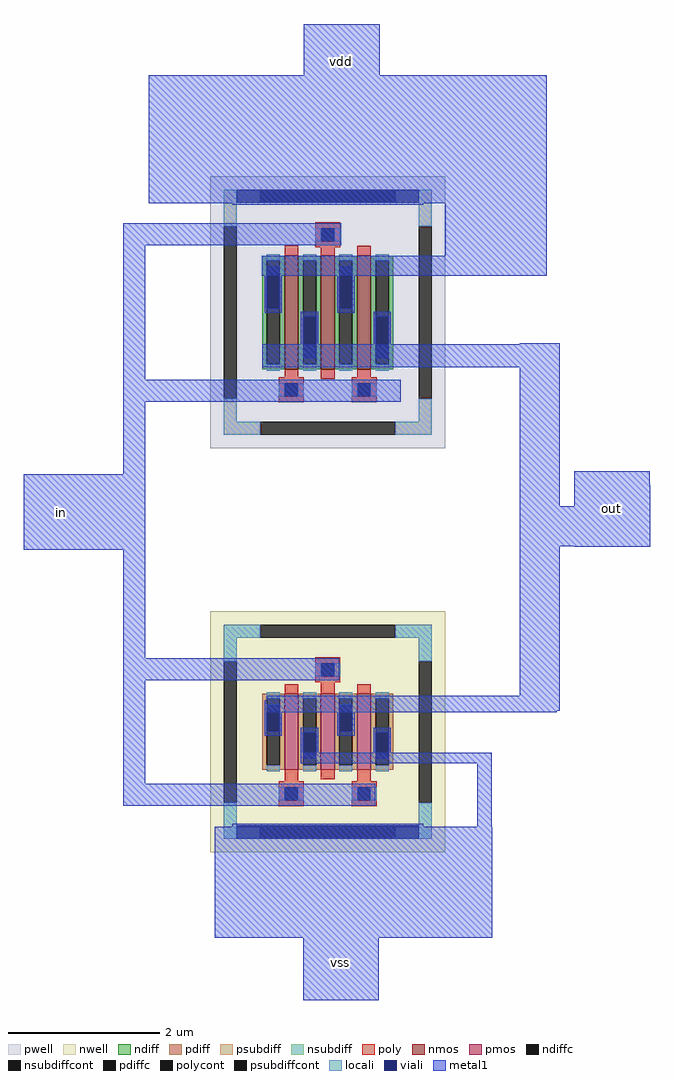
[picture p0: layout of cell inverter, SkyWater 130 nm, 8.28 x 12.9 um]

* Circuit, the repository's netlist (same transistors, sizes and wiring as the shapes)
**.subckt inverter in vdd vss out
*.ipin in
*.iopin vdd
*.iopin vss
*.opin out
XM1 out in vdd vdd sky130_fd_pr__pfet_01v8 L=0.18 W=3 nf=3 ad='int((nf+1)/2) * W/nf * 0.29' as='int((nf+2)/2) * W/nf * 0.29'
+ pd='2*int((nf+1)/2) * (W/nf + 0.29)' ps='2*int((nf+2)/2) * (W/nf + 0.29)' nrd='0.29 / W' nrs='0.29 / W'
+ sa=0 sb=0 sd=0 mult=1 m=1 
XM2 out in vss vss sky130_fd_pr__nfet_01v8 L=0.18 W=4.5 nf=3 ad='int((nf+1)/2) * W/nf * 0.29' as='int((nf+2)/2) * W/nf * 0.29'
+ pd='2*int((nf+1)/2) * (W/nf + 0.29)' ps='2*int((nf+2)/2) * (W/nf + 0.29)' nrd='0.29 / W' nrs='0.29 / W'
+ sa=0 sb=0 sd=0 mult=1 m=1 
**.ends
** flattened .save nodes
.end

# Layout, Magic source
magic
tech sky130A
magscale 1 2
<< metal1 >>
rect 764 1480 964 1616
rect 354 1142 1406 1480
rect 287 1031 863 1089
rect 287 676 345 1031
rect 1138 1004 1406 1142
rect 652 950 1406 1004
rect 1334 770 1440 772
rect 654 708 1440 770
rect 287 618 1020 676
rect 287 426 345 618
rect 24 226 345 426
rect 287 -61 345 226
rect 1334 341 1440 708
rect 1478 398 1678 434
rect 1478 341 1679 398
rect 1334 235 1679 341
rect 287 -119 857 -61
rect 287 -393 345 -119
rect 1334 -160 1440 235
rect 1478 234 1679 235
rect 666 -200 1440 -160
rect 666 -204 1432 -200
rect 760 -338 1260 -310
rect 287 -451 953 -393
rect 1222 -506 1260 -338
rect 528 -800 1262 -506
rect 762 -964 962 -800
use sky130_fd_pr__nfet_01v8_B9CQBZ  XM2
transform 1 0 827 0 1 854
box -311 -360 311 360
use sky130_fd_pr__pfet_01v8_U3KX2J  XM1
transform 1 0 827 0 1 -255
box -311 -319 311 319
<< labels >>
flabel metal1 24 226 224 426 0 FreeSans 256 0 0 0 in
port 0 nsew
flabel metal1 1478 234 1678 434 0 FreeSans 256 0 0 0 out
port 3 nsew
flabel metal1 762 -964 962 -764 0 FreeSans 256 0 0 0 vss
port 2 nsew
flabel metal1 764 1416 964 1616 0 FreeSans 256 0 0 0 vdd
port 1 nsew
<< end >>

# cell sky130_fd_pr__nfet_01v8_B9CQBZ: kit device sky130_fd_pr__nfet_01v8, w 1.5 l 0.18 m 1 nf 3 diffcov 100 polycov 100 guard 1 glc 1 grc 1 gtc 1 gbc 1 tbcov 100 rlcov 100 topc 1 botc 1 poverlap 0 doverlap 1 lmin 0.15 wmin 0.42 compatible {sky130_fd_pr__nfet_01v8 sky130_fd_pr__nfet_01v8_lvt sky130_fd_bs_flash__special_sonosfet_star sky130_fd_pr__nfet_g5v0d10v5 sky130_fd_pr__nfet_05v0_nvt sky130_fd_pr__nfet_03v3_nvt} full_metal 1 viasrc +40 viadrn -40 viagate 100 viagb 0 viagr 0 viagl 0 viagt 100

# cell sky130_fd_pr__pfet_01v8_U3KX2J: kit device sky130_fd_pr__pfet_01v8, w 1.0 l 0.18 m 1 nf 3 diffcov 100 polycov 100 guard 1 glc 1 grc 1 gtc 1 gbc 1 tbcov 100 rlcov 100 topc 1 botc 1 poverlap 0 doverlap 1 lmin 0.15 wmin 0.42 compatible {sky130_fd_pr__pfet_01v8 sky130_fd_pr__pfet_01v8_lvt sky130_fd_pr__pfet_01v8_hvt sky130_fd_pr__pfet_g5v0d10v5} full_metal 1 viasrc +40 viadrn -40 viagate 100 viagb 100 viagr 0 viagl 0 viagt 0
